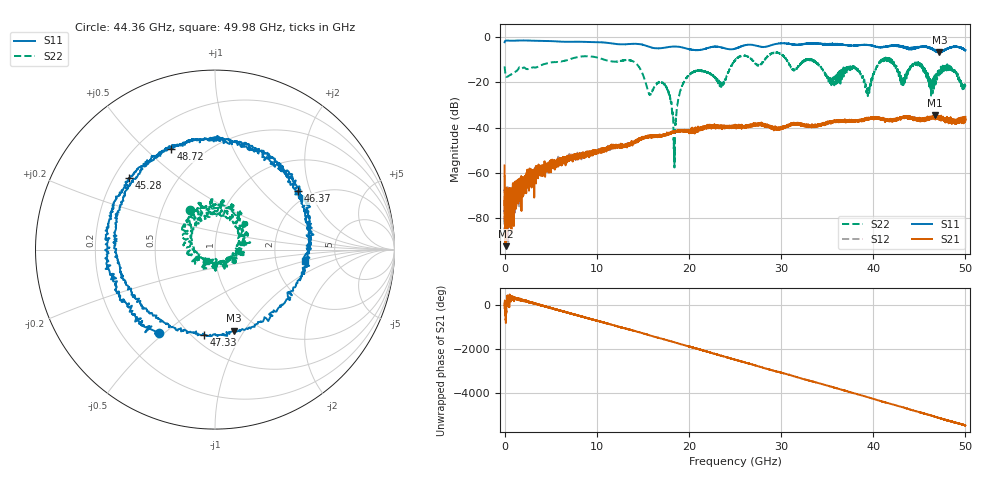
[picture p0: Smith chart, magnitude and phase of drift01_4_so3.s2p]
!Created with skrf (http://scikit-rf.org).
# Hz S RI R 50.0
!freq ReS11 ImS11 ReS21 ImS21 ReS12 ImS12 ReS22 ImS22
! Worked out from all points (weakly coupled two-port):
!   10001 points, 300 kHz to 50 GHz, reference 50 ohm
!   highest |S21| = -34.47 dB at 46.67 GHz (marker M1); lowest = -92.6 dB at 135.3 MHz (marker M2)
!   lowest |S11| = -6.7 dB at 47.19 GHz (marker M3), VSWR 2.73, Z = 39.1 - j44.9 ohm
!   |S11| at or under -10 dB: nowhere
!   |S22| runs from -57.7 to -6.6 dB; largest |S21 - S12| = 0.0044
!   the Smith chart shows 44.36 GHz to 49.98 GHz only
!   S11 on the Smith chart (normalised r, x): 44.36 GHz: 0.35, -0.48; 45.28 GHz: 0.26, +0.34; 46.37 GHz: 1.72, +1.66; 47.33 GHz: 0.57, -0.70; 48.72 GHz: 0.34, +0.60; 49.98 GHz: 2.97, -0.49
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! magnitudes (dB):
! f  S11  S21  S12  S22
! 300 kHz  -2.1  -56.8  -61.4  -12.9
! 135.3 MHz  -1.5  -92.6  -76.9  -17.2
! 8.335 GHz  -1.9  -53.4  -51.8  -8.5
! 16.67 GHz  -4.9  -43.7  -44.0  -19.9
! 17.74 GHz  -4.4  -42.8  -42.8  -23.5
! 18.42 GHz  -4.1  -42.1  -41.8  -52.5
! 19.91 GHz  -5.2  -41.4  -41.6  -17.1
! 23.59 GHz  -4.5  -39.4  -39.6  -20.2
! 25 GHz  -5.0  -40.0  -39.9  -10.3
! 33.34 GHz  -2.6  -39.0  -39.5  -10.0
! 39.36 GHz  -3.4  -36.4  -36.2  -23.1
! 41.67 GHz  -3.9  -37.2  -37.0  -9.7
! 43.19 GHz  -4.3  -35.5  -35.8  -19.0
! 44.36 GHz  -5.0  -36.3  -36.3  -11.7
! 45.28 GHz  -4.1  -36.0  -36.5  -12.9
! 46.37 GHz  -4.9  -35.6  -35.2  -19.8
! 46.67 GHz  -5.8  -34.5  -35.4  -18.3
! 47.19 GHz  -6.7  -35.2  -35.7  -13.9
! 47.33 GHz  -6.4  -35.6  -36.2  -13.8
! 48.72 GHz  -4.3  -37.3  -37.6  -14.3
! 49.98 GHz  -5.9  -36.5  -36.5  -21.5
! 50 GHz  -5.6  -35.3  -35.7  -21.6
